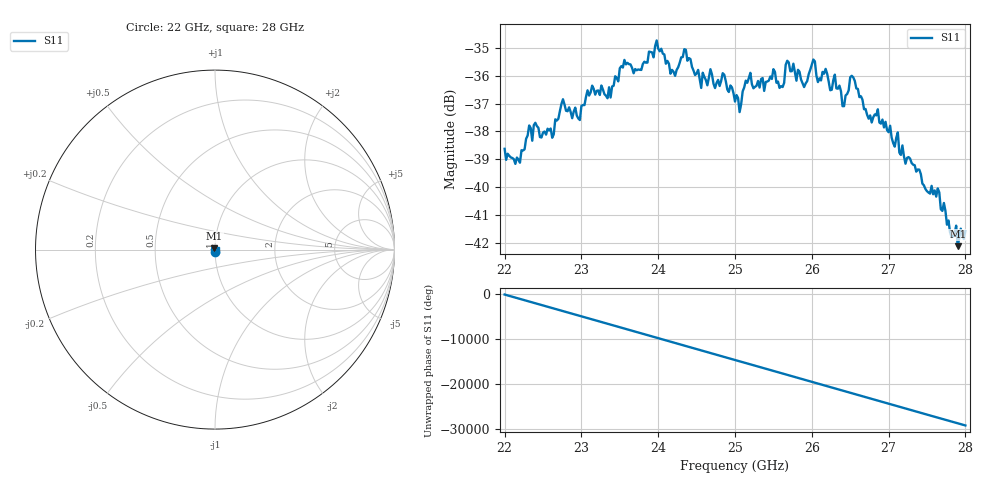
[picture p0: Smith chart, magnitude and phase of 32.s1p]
#  HZ  S  RI  R  50.00
! Rohde & Schwarz ZVA40 4Ports - Version 3.90 - 1145.1110k42 SN: 100403
! Date: 2023-10-04 08:43:01
! Measurement: S12
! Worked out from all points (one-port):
!   301 points, 22 GHz to 28 GHz, reference 50 ohm
!   lowest |S11| = -42.1 dB at 27.9 GHz (marker M1), VSWR 1.02, Z = 49.6 + j0.696 ohm
!   |S11| at or under -10 dB: start of sweep to end of sweep
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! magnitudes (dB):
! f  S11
! 22 GHz  -38.6
! 22.2 GHz  -39.1
! 22.4 GHz  -37.7
! 22.62 GHz  -38.2
! 22.76 GHz  -36.8
! 22.98 GHz  -37.6
! 23.08 GHz  -36.5
! 23.38 GHz  -36.8
! 23.5 GHz  -35.7
! 23.98 GHz  -34.7
! 24.26 GHz  -35.7
! 24.36 GHz  -35.1
! 24.56 GHz  -36.4
! 24.84 GHz  -35.9
! 25 GHz  -36.9
! 25.2 GHz  -35.9
! 25.58 GHz  -36.4
! 25.76 GHz  -35.6
! 25.9 GHz  -36.4
! 26.02 GHz  -35.4
! 26.08 GHz  -36.2
! 26.3 GHz  -36.0
! 26.4 GHz  -37.1
! 26.5 GHz  -36.1
! 27.26 GHz  -38.9
! 27.64 GHz  -40.0
! 27.9 GHz  -42.1
! 28 GHz  -41.6
